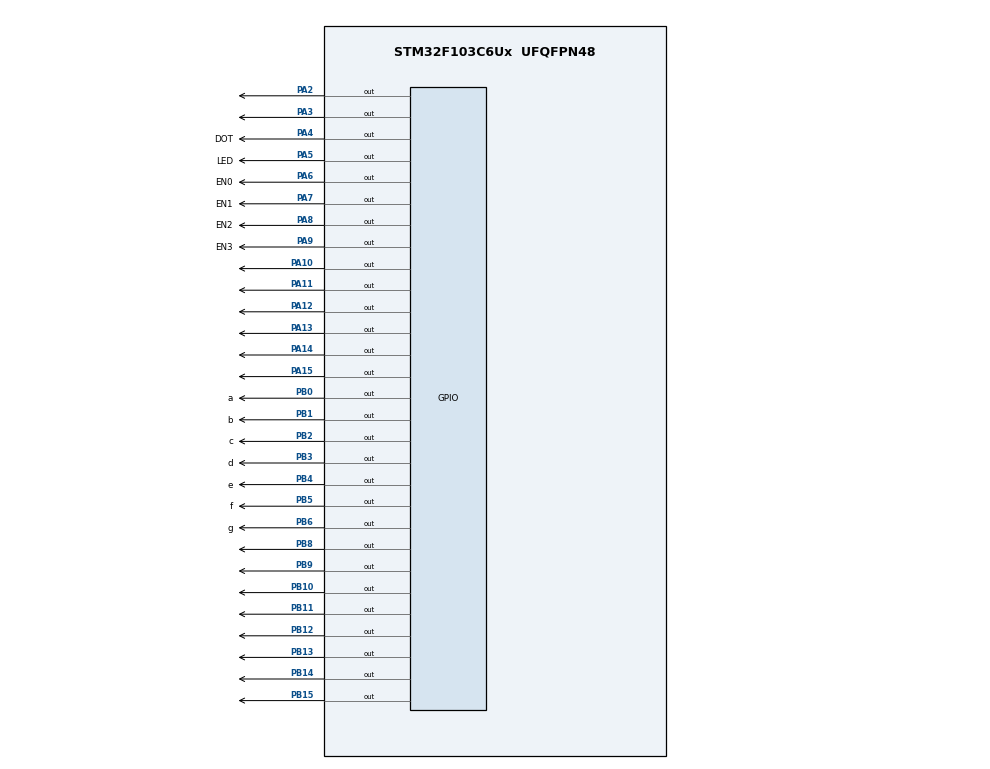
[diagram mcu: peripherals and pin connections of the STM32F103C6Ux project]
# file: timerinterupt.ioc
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Mcu.Family=STM32F1
Mcu.Name=STM32F103C6Ux
Mcu.Package=UFQFPN48
NVIC.PriorityGroup=NVIC_PRIORITYGROUP_4
NVIC.TIM2_IRQn=true\:0\:0\:false\:false\:true\:true\:true
PA10.Signal=GPIO_Output
PA11.Signal=GPIO_Output
PA12.Signal=GPIO_Output
PA13.Signal=GPIO_Output
PA14.Signal=GPIO_Output
PA15.Signal=GPIO_Output
PA2.Signal=GPIO_Output
PA3.Signal=GPIO_Output
PA4.GPIO_Label=DOT
PA4.Signal=GPIO_Output
PA5.GPIO_Label=LED
PA5.Signal=GPIO_Output
PA6.GPIO_Label=EN0
PA6.Signal=GPIO_Output
PA7.GPIO_Label=EN1
PA7.Signal=GPIO_Output
PA8.GPIO_Label=EN2
PA8.Signal=GPIO_Output
PA9.GPIO_Label=EN3
PA9.Signal=GPIO_Output
PB0.GPIO_Label=a
PB0.Signal=GPIO_Output
PB1.GPIO_Label=b
PB1.Signal=GPIO_Output
PB10.Signal=GPIO_Output
PB11.Signal=GPIO_Output
PB12.Signal=GPIO_Output
PB13.Signal=GPIO_Output
PB14.Signal=GPIO_Output
PB15.Signal=GPIO_Output
PB2.GPIO_Label=c
PB2.Signal=GPIO_Output
PB3.GPIO_Label=d
PB3.Signal=GPIO_Output
PB4.GPIO_Label=e
PB4.Signal=GPIO_Output
PB5.GPIO_Label=f
PB5.Signal=GPIO_Output
PB6.GPIO_Label=g
PB6.Signal=GPIO_Output
PB8.Signal=GPIO_Output
PB9.Signal=GPIO_Output
ProjectManager.HeapSize=0x200
ProjectManager.StackSize=0x400
ProjectManager.TargetToolchain=STM32CubeIDE
RCC.APB1Freq_Value=8000000
RCC.APB2Freq_Value=8000000
TIM2.Period=9
TIM2.Prescaler=7999
VP_SYS_VS_ND.Mode=No_Debug
VP_TIM2_VS_ClockSourceINT.Mode=Internal
board=custom

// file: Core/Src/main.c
/* USER CODE BEGIN Header */
/**
  ******************************************************************************
  * @file           : main.c
  * @brief          : Main program body
  ******************************************************************************
  * @attention
  *
  * <h2><center>&copy; Copyright (c) 2025 STMicroelectronics.
  * All rights reserved.</center></h2>
  *
  * This software component is licensed by ST under BSD 3-Clause license,
  * the "License"; You may not use this file except in compliance with the
  * License. You may obtain a copy of the License at:
  *                        opensource.org/licenses/BSD-3-Clause
  *
  ******************************************************************************
  */
/* USER CODE END Header */
#include "main.h"

TIM_HandleTypeDef htim2;

/* USER CODE BEGIN PV */
#define num_of_timers 4
const int MAX_LED = 4;
const int MAX_LED_MATRIX = 8;
int count = 100;
int index_led_matrix = 0;
int hour = 15, minute = 8, second = 50;
int index_led = 0;
int led_buffer[4] = {1,5,0,8};
int timer_flag[num_of_timers];
int timer_counter[num_of_timers];
int TIMER_CYCLE = 10;
uint8_t matrix_buffer[8] = {0b11100111, 0b11011011, 0b10111101, 0b10111101, 0b10000001, 0b10111101, 0b10111101, 0b10111101};
/* USER CODE END PV */

void SystemClock_Config(void);
static void MX_GPIO_Init(void);
static void MX_TIM2_Init(void);
/* USER CODE BEGIN PFP */
void setTimer(int idx, int duration);
void timer_run();
void clearAllLeds();
void updateClockBuffer();
void update7SEG(int index);
void display7SEG(int num);
void updateLEDMatrix(int index);
void LEDMatrix_run();
/* USER CODE END PFP */

/* USER CODE BEGIN 0 */
void setTimer(int idx, int duration){
	if(idx < 0 || idx >= num_of_timers){
		return;
	}
	timer_counter[idx] = duration / TIMER_CYCLE;
	timer_flag[idx] = 0;
}
void timer_run(){
	for(int i = 0;i < num_of_timers; i++){
		int running = (timer_counter[i] > 0);
		timer_counter[i] -= running;
		timer_flag[i] |= (timer_counter[i] == 0 && running);
	}
}
void updateClockBuffer(){
	led_buffer[0] = hour / 10;
	led_buffer[1] = hour % 10;
	led_buffer[2] = minute / 10;
	led_buffer[3] = minute % 10;
}
void clearAllLeds(){
    HAL_GPIO_WritePin(GPIOA, GPIO_PIN_6, SET);
    HAL_GPIO_WritePin(GPIOA, GPIO_PIN_7, SET);
    HAL_GPIO_WritePin(GPIOA, GPIO_PIN_8, SET);
    HAL_GPIO_WritePin(GPIOA, GPIO_PIN_9, SET);
}
void update7SEG(int index){
	clearAllLeds();
	switch(index){
	case 0:
		HAL_GPIO_WritePin(GPIOA, GPIO_PIN_6, RESET);
		display7SEG(led_buffer[0]);
		break;
	case 1:
		HAL_GPIO_WritePin(GPIOA, GPIO_PIN_7, RESET);
		display7SEG(led_buffer[1]);
		break;
	case 2:
		HAL_GPIO_WritePin(GPIOA, GPIO_PIN_8, RESET);
		display7SEG(led_buffer[2]);
		break;
	case 3:
		HAL_GPIO_WritePin(GPIOA, GPIO_PIN_9, RESET);
		display7SEG(led_buffer[3]);
		break;
	}
}
void display7SEG(int num){
	switch(num){
		case 0:
	  		  HAL_GPIO_WritePin(a_GPIO_Port, a_Pin, RESET);
	  		  HAL_GPIO_WritePin(b_GPIO_Port, b_Pin, RESET);
	  		  HAL_GPIO_WritePin(c_GPIO_Port, c_Pin, RESET);
	  		  HAL_GPIO_WritePin(d_GPIO_Port, d_Pin, RESET);
	  		  HAL_GPIO_WritePin(e_GPIO_Port, e_Pin, RESET);
	  		  HAL_GPIO_WritePin(f_GPIO_Port, f_Pin, RESET);
	  		  HAL_GPIO_WritePin(g_GPIO_Port, g_Pin, SET);
	  		  break;
	  	case 1:
	  		  HAL_GPIO_WritePin(a_GPIO_Port, a_Pin, SET);
	  		  HAL_GPIO_WritePin(b_GPIO_Port, b_Pin, RESET);
	  		  HAL_GPIO_WritePin(c_GPIO_Port, c_Pin, RESET);
	  		  HAL_GPIO_WritePin(d_GPIO_Port, d_Pin, SET);
	  		  HAL_GPIO_WritePin(e_GPIO_Port, e_Pin, SET);
	  		  HAL_GPIO_WritePin(f_GPIO_Port, f_Pin, SET);
	  		  HAL_GPIO_WritePin(g_GPIO_Port, g_Pin, SET);
	  		  break;
	  	case 2:
	  		  HAL_GPIO_WritePin(a_GPIO_Port, a_Pin, RESET);
	  		  HAL_GPIO_WritePin(b_GPIO_Port, b_Pin, RESET);
	  		  HAL_GPIO_WritePin(c_GPIO_Port, c_Pin, SET);
	  		  HAL_GPIO_WritePin(d_GPIO_Port, d_Pin, RESET);
	  		  HAL_GPIO_WritePin(e_GPIO_Port, e_Pin, RESET);
	  		  HAL_GPIO_WritePin(f_GPIO_Port, f_Pin, SET);
	  		  HAL_GPIO_WritePin(g_GPIO_Port, g_Pin, RESET);
	  		  break;
	  	case 3:
	  		  HAL_GPIO_WritePin(a_GPIO_Port, a_Pin, RESET);
	  		  HAL_GPIO_WritePin(b_GPIO_Port, b_Pin, RESET);
	  		  HAL_GPIO_WritePin(c_GPIO_Port, c_Pin, RESET);
	  		  HAL_GPIO_WritePin(d_GPIO_Port, d_Pin, RESET);
	  		  HAL_GPIO_WritePin(e_GPIO_Port, e_Pin, SET);
	  		  HAL_GPIO_WritePin(f_GPIO_Port, f_Pin, SET);
	  		  HAL_GPIO_WritePin(g_GPIO_Port, g_Pin, RESET);
	  		  break;
	  	case 4:
	  		  HAL_GPIO_WritePin(a_GPIO_Port, a_Pin, SET);
	  		  HAL_GPIO_WritePin(b_GPIO_Port, b_Pin, RESET);
	  		  HAL_GPIO_WritePin(c_GPIO_Port, c_Pin, RESET);
	  		  HAL_GPIO_WritePin(d_GPIO_Port, d_Pin, SET);
	  		  HAL_GPIO_WritePin(e_GPIO_Port, e_Pin, SET);
	  		  HAL_GPIO_WritePin(f_GPIO_Port, f_Pin, RESET);
	  		  HAL_GPIO_WritePin(g_GPIO_Port, g_Pin, RESET);
	  		  break;
	  	case 5:
	  		  HAL_GPIO_WritePin(a_GPIO_Port, a_Pin, RESET);
	  		  HAL_GPIO_WritePin(b_GPIO_Port, b_Pin, SET);
	  		  HAL_GPIO_WritePin(c_GPIO_Port, c_Pin, RESET);
	  		  HAL_GPIO_WritePin(d_GPIO_Port, d_Pin, RESET);
	  		  HAL_GPIO_WritePin(e_GPIO_Port, e_Pin, SET);
	  		  HAL_GPIO_WritePin(f_GPIO_Port, f_Pin, RESET);
	  		  HAL_GPIO_WritePin(g_GPIO_Port, g_Pin, RESET);
	  		  break;
	  	case 6:
	  		  HAL_GPIO_WritePin(a_GPIO_Port, a_Pin, RESET);
	  		  HAL_GPIO_WritePin(b_GPIO_Port, b_Pin, SET);
	  		  HAL_GPIO_WritePin(c_GPIO_Port, c_Pin, RESET);
	  		  HAL_GPIO_WritePin(d_GPIO_Port, d_Pin, RESET);
	  		  HAL_GPIO_WritePin(e_GPIO_Port, e_Pin, RESET);
	  		  HAL_GPIO_WritePin(f_GPIO_Port, f_Pin, RESET);
	  		  HAL_GPIO_WritePin(g_GPIO_Port, g_Pin, RESET);
	  		  break;
	  	case 7:
	  		  HAL_GPIO_WritePin(a_GPIO_Port, a_Pin, RESET);
	  		  HAL_GPIO_WritePin(b_GPIO_Port, b_Pin, RESET);
	  		  HAL_GPIO_WritePin(c_GPIO_Port, c_Pin, RESET);
	  		  HAL_GPIO_WritePin(d_GPIO_Port, d_Pin, SET);
	  		  HAL_GPIO_WritePin(e_GPIO_Port, e_Pin, SET);
	  		  HAL_GPIO_WritePin(f_GPIO_Port, f_Pin, SET);
	  		  HAL_GPIO_WritePin(g_GPIO_Port, g_Pin, SET);
	  		  break;
	  	case 8:
	  		  HAL_GPIO_WritePin(a_GPIO_Port, a_Pin, RESET);
	  		  HAL_GPIO_WritePin(b_GPIO_Port, b_Pin, RESET);
	  		  HAL_GPIO_WritePin(c_GPIO_Port, c_Pin, RESET);
	  		  HAL_GPIO_WritePin(d_GPIO_Port, d_Pin, RESET);
	  		  HAL_GPIO_WritePin(e_GPIO_Port, e_Pin, RESET);
	  		  HAL_GPIO_WritePin(f_GPIO_Port, f_Pin, RESET);
	  		  HAL_GPIO_WritePin(g_GPIO_Port, g_Pin, RESET);
	  		  break;
	  	case 9:
	  		  HAL_GPIO_WritePin(a_GPIO_Port, a_Pin, RESET);
	  		  HAL_GPIO_WritePin(b_GPIO_Port, b_Pin, RESET);
	  		  HAL_GPIO_WritePin(c_GPIO_Port, c_Pin, RESET);
	  		  HAL_GPIO_WritePin(d_GPIO_Port, d_Pin, RESET);
	  		  HAL_GPIO_WritePin(e_GPIO_Port, e_Pin, SET);
	  		  HAL_GPIO_WritePin(f_GPIO_Port, f_Pin, RESET);
	  		  HAL_GPIO_WritePin(g_GPIO_Port, g_Pin, RESET);
	  		  break;
	  	}
}
void updateLEDMatrix(int index){
	//tat tat ca led matrix
	HAL_GPIO_WritePin(GPIOA, GPIO_PIN_2, SET);
	HAL_GPIO_WritePin(GPIOA, GPIO_PIN_3, SET);
	HAL_GPIO_WritePin(GPIOA, GPIO_PIN_10, SET);
	HAL_GPIO_WritePin(GPIOA, GPIO_PIN_11, SET);
	HAL_GPIO_WritePin(GPIOA, GPIO_PIN_12, SET);
	HAL_GPIO_WritePin(GPIOA, GPIO_PIN_13, SET);
	HAL_GPIO_WritePin(GPIOA, GPIO_PIN_14, SET);
	HAL_GPIO_WritePin(GPIOA, GPIO_PIN_15, SET);

	//Bien dung de bieu dien trang thai sang cua tung hang
	uint16_t row_pattern = 0;
	for (int row = 0; row < 8; row++) {
	    if (matrix_buffer[row] & (1 << index)) {
	        row_pattern |= (1 << row);
	    }
	}

	//gan dung yeu cau
	GPIOB->ODR = (GPIOB->ODR & ~0xFF00) | (row_pattern << 8);

	//bat tung cot, voi delay nhanh thi` gan nhu la` chu A
	switch(index){
	case 0:
		HAL_GPIO_WritePin(GPIOA, GPIO_PIN_2, RESET);
		break;
	case 1:
		HAL_GPIO_WritePin(GPIOA, GPIO_PIN_3, RESET);
		break;
	case 2:
		HAL_GPIO_WritePin(GPIOA, GPIO_PIN_10, RESET);
		break;
	case 3:
		HAL_GPIO_WritePin(GPIOA, GPIO_PIN_11, RESET);
		break;
	case 4:
		HAL_GPIO_WritePin(GPIOA, GPIO_PIN_12, RESET);
		break;
	case 5:
		HAL_GPIO_WritePin(GPIOA, GPIO_PIN_13, RESET);
		break;
	case 6:
		HAL_GPIO_WritePin(GPIOA, GPIO_PIN_14, RESET);
		break;
	case 7:
		HAL_GPIO_WritePin(GPIOA, GPIO_PIN_15, RESET);
		break;
	}
}
void LEDMatrix_run(){
	uint8_t temp[8];
	for(int i = 0; i < 8; i++){
		temp[i] = (matrix_buffer[i] & 0x80) >> 7;
		matrix_buffer[i] <<= 1;
	}
	for(int i = 0; i < 8; i++){
		matrix_buffer[i] |= temp[i];
	}
}
/* USER CODE END 0 */

int main(void)
{

  /* MCU Configuration--------------------------------------------------------*/

  /* Reset of all peripherals, Initializes the Flash interface and the Systick. */
  HAL_Init();

  /* Configure the system clock */
  SystemClock_Config();

  /* Initialize all configured peripherals */
  MX_GPIO_Init();
  MX_TIM2_Init();
  /* USER CODE BEGIN 2 */
  HAL_TIM_Base_Start_IT(&htim2);
  clearAllLeds();
  //updateClockBuffer();
  /* USER CODE END 2 */

  /* Infinite loop */
  /* USER CODE BEGIN WHILE */
  setTimer(0, 1000);
  setTimer(1, 1000);
  setTimer(2, 250);
  setTimer(3, 10);
  while (1)
  {
	  //Nhap nhay den de kiem tra he thong
	  if(timer_flag[0]){
		  HAL_GPIO_TogglePin(GPIOA, GPIO_PIN_5);
		  setTimer(0, 1000);
	  }

	  //Dong ho so
	  if(timer_flag[1]){
		  HAL_GPIO_TogglePin(GPIOA, GPIO_PIN_4);
		  second++;
		  if(second >= 60){
			  second = 0;
			  minute++;
		  }
		  if(minute >= 60){
			  minute = 0;
			  hour++;
		  }
		  if(hour >= 24){
			  hour =  0;
		  }
		  updateClockBuffer();
		  setTimer(1, 1000);
	  }

	  //Cap nhat den
	  if(timer_flag[2]){
	      update7SEG(index_led);
	      index_led++;
	      if(index_led >= MAX_LED){
	    	  index_led = 0;
	      }
	      setTimer(2, 250);
	  }

	  //Led_matrix
	  if(timer_flag[3]){
		  updateLEDMatrix(index_led_matrix);
		  index_led_matrix++;
		  if(index_led_matrix >= MAX_LED_MATRIX){
			  index_led_matrix = 0;
			  //Khi hoan thanh chu A, thi` cho chu A dich sang phai
			  LEDMatrix_run();
		  }
		  setTimer(3, 10);
	  }
    /* USER CODE END WHILE */

  }
}

void SystemClock_Config(void)
{
  RCC_OscInitTypeDef RCC_OscInitStruct = {0};
  RCC_ClkInitTypeDef RCC_ClkInitStruct = {0};

  /** Initializes the RCC Oscillators according to the specified parameters
  * in the RCC_OscInitTypeDef structure.
  */
  RCC_OscInitStruct.OscillatorType = RCC_OSCILLATORTYPE_HSI;
  RCC_OscInitStruct.HSIState = RCC_HSI_ON;
  RCC_OscInitStruct.HSICalibrationValue = RCC_HSICALIBRATION_DEFAULT;
  RCC_OscInitStruct.PLL.PLLState = RCC_PLL_NONE;
  if (HAL_RCC_OscConfig(&RCC_OscInitStruct) != HAL_OK)
  {
    Error_Handler();
  }
  /** Initializes the CPU, AHB and APB buses clocks
  */
  RCC_ClkInitStruct.ClockType = RCC_CLOCKTYPE_HCLK|RCC_CLOCKTYPE_SYSCLK
                              |RCC_CLOCKTYPE_PCLK1|RCC_CLOCKTYPE_PCLK2;
  RCC_ClkInitStruct.SYSCLKSource = RCC_SYSCLKSOURCE_HSI;
  RCC_ClkInitStruct.AHBCLKDivider = RCC_SYSCLK_DIV1;
  RCC_ClkInitStruct.APB1CLKDivider = RCC_HCLK_DIV1;
  RCC_ClkInitStruct.APB2CLKDivider = RCC_HCLK_DIV1;

  if (HAL_RCC_ClockConfig(&RCC_ClkInitStruct, FLASH_LATENCY_0) != HAL_OK)
  {
    Error_Handler();
  }
}

static void MX_TIM2_Init(void)
{

  TIM_ClockConfigTypeDef sClockSourceConfig = {0};
  TIM_MasterConfigTypeDef sMasterConfig = {0};

  htim2.Instance = TIM2;
  htim2.Init.Prescaler = 7999;
  htim2.Init.CounterMode = TIM_COUNTERMODE_UP;
  htim2.Init.Period = 9;
  htim2.Init.ClockDivision = TIM_CLOCKDIVISION_DIV1;
  htim2.Init.AutoReloadPreload = TIM_AUTORELOAD_PRELOAD_DISABLE;
  if (HAL_TIM_Base_Init(&htim2) != HAL_OK)
  {
    Error_Handler();
  }
  sClockSourceConfig.ClockSource = TIM_CLOCKSOURCE_INTERNAL;
  if (HAL_TIM_ConfigClockSource(&htim2, &sClockSourceConfig) != HAL_OK)
  {
    Error_Handler();
  }
  sMasterConfig.MasterOutputTrigger = TIM_TRGO_RESET;
  sMasterConfig.MasterSlaveMode = TIM_MASTERSLAVEMODE_DISABLE;
  if (HAL_TIMEx_MasterConfigSynchronization(&htim2, &sMasterConfig) != HAL_OK)
  {
    Error_Handler();
  }

}

static void MX_GPIO_Init(void)
{
  GPIO_InitTypeDef GPIO_InitStruct = {0};

  /* GPIO Ports Clock Enable */
  __HAL_RCC_GPIOA_CLK_ENABLE();
  __HAL_RCC_GPIOB_CLK_ENABLE();

  /*Configure GPIO pin Output Level */
  HAL_GPIO_WritePin(GPIOA, GPIO_PIN_2|GPIO_PIN_3|DOT_Pin|LED_Pin
                          |EN0_Pin|EN1_Pin|EN2_Pin|EN3_Pin
                          |GPIO_PIN_10|GPIO_PIN_11|GPIO_PIN_12|GPIO_PIN_13
                          |GPIO_PIN_14|GPIO_PIN_15, GPIO_PIN_RESET);

  /*Configure GPIO pin Output Level */
  HAL_GPIO_WritePin(GPIOB, a_Pin|b_Pin|c_Pin|GPIO_PIN_10
                          |GPIO_PIN_11|GPIO_PIN_12|GPIO_PIN_13|GPIO_PIN_14
                          |GPIO_PIN_15|d_Pin|e_Pin|f_Pin
                          |g_Pin|GPIO_PIN_8|GPIO_PIN_9, GPIO_PIN_RESET);

  /*Configure GPIO pins : PA2 PA3 DOT_Pin LED_Pin
                           EN0_Pin EN1_Pin EN2_Pin EN3_Pin
                           PA10 PA11 PA12 PA13
                           PA14 PA15 */
  GPIO_InitStruct.Pin = GPIO_PIN_2|GPIO_PIN_3|DOT_Pin|LED_Pin
                          |EN0_Pin|EN1_Pin|EN2_Pin|EN3_Pin
                          |GPIO_PIN_10|GPIO_PIN_11|GPIO_PIN_12|GPIO_PIN_13
                          |GPIO_PIN_14|GPIO_PIN_15;
  GPIO_InitStruct.Mode = GPIO_MODE_OUTPUT_PP;
  GPIO_InitStruct.Pull = GPIO_NOPULL;
  GPIO_InitStruct.Speed = GPIO_SPEED_FREQ_LOW;
  HAL_GPIO_Init(GPIOA, &GPIO_InitStruct);

  /*Configure GPIO pins : a_Pin b_Pin c_Pin PB10
                           PB11 PB12 PB13 PB14
                           PB15 d_Pin e_Pin f_Pin
                           g_Pin PB8 PB9 */
  GPIO_InitStruct.Pin = a_Pin|b_Pin|c_Pin|GPIO_PIN_10
                          |GPIO_PIN_11|GPIO_PIN_12|GPIO_PIN_13|GPIO_PIN_14
                          |GPIO_PIN_15|d_Pin|e_Pin|f_Pin
                          |g_Pin|GPIO_PIN_8|GPIO_PIN_9;
  GPIO_InitStruct.Mode = GPIO_MODE_OUTPUT_PP;
  GPIO_InitStruct.Pull = GPIO_NOPULL;
  GPIO_InitStruct.Speed = GPIO_SPEED_FREQ_LOW;
  HAL_GPIO_Init(GPIOB, &GPIO_InitStruct);

}

/* USER CODE BEGIN 4 */
int cforEx1 = 100;
int cforLedEx1 = 50;
int cforLedEx2 = 25;
int cforLedEx4 = 100;
int seg_index = 0;
int indexforEx3 = 0;
void HAL_TIM_PeriodElapsedCallback(TIM_HandleTypeDef *htim){
	timer_run();

	//EX1
	/*cforEx1--;
	if(cforEx1 <= 0) {
		cforEx1 = 100;
		HAL_GPIO_TogglePin(GPIOA, GPIO_PIN_5);
	}*/
	/*
	cforLedEx1--;
	if(cforLedEx1 <= 0){
		cforLedEx1 = 50;
		clearAllLeds();
		if(seg_index == 0){
			HAL_GPIO_WritePin(GPIOA, GPIO_PIN_6, RESET);
			display7SEG(1);
			seg_index = 1;
		}
		else if(seg_index == 1){
			HAL_GPIO_WritePin(GPIOA, GPIO_PIN_7, RESET);
			display7SEG(2);
			seg_index = 0;
		}
	}*/

	//EX2
	/*cforLedEx2--;
	if(cforLedEx2 <= 0){
		cforLedEx2 = 25;
		clearAllLeds();
		if(seg_index == 0){
			HAL_GPIO_WritePin(GPIOA, GPIO_PIN_6, RESET);
			display7SEG(1);
			seg_index = 1;
		}
		else if(seg_index == 1){
			HAL_GPIO_WritePin(GPIOA, GPIO_PIN_7, RESET);
			display7SEG(2);
			seg_index = 2;
		}
		else if(seg_index == 2){
			HAL_GPIO_WritePin(GPIOA, GPIO_PIN_8, RESET);
			display7SEG(3);
			seg_index = 3;
		}
		else if(seg_index == 3){
			HAL_GPIO_WritePin(GPIOA, GPIO_PIN_9, RESET);
			display7SEG(0);
			seg_index = 0;
		}
	}*/
	//EX3
	/*cforLedEx2--;
	if(cforLedEx2 <= 0){
		cforLedEx2 = 100;
		update7SEG(indexforEx3);
		indexforEx3++;
		if(indexforEx3 >= 4){
			indexforEx3 = 0;
		}
	}*/

	//EX4
	/*cforLedEx4--;
	if(cforLedEx4 <= 0){
		cforLedEx4 = 100;
		update7SEG(indexforEx3);
		indexforEx3++;
		if(indexforEx3 >= 4){
			indexforEx3 = 0;
		}
	}*/
}
/* USER CODE END 4 */

void Error_Handler(void)
{
  __disable_irq();
  while (1)
  {
  }
}

/************************ (C) COPYRIGHT STMicroelectronics *****END OF FILE****/
